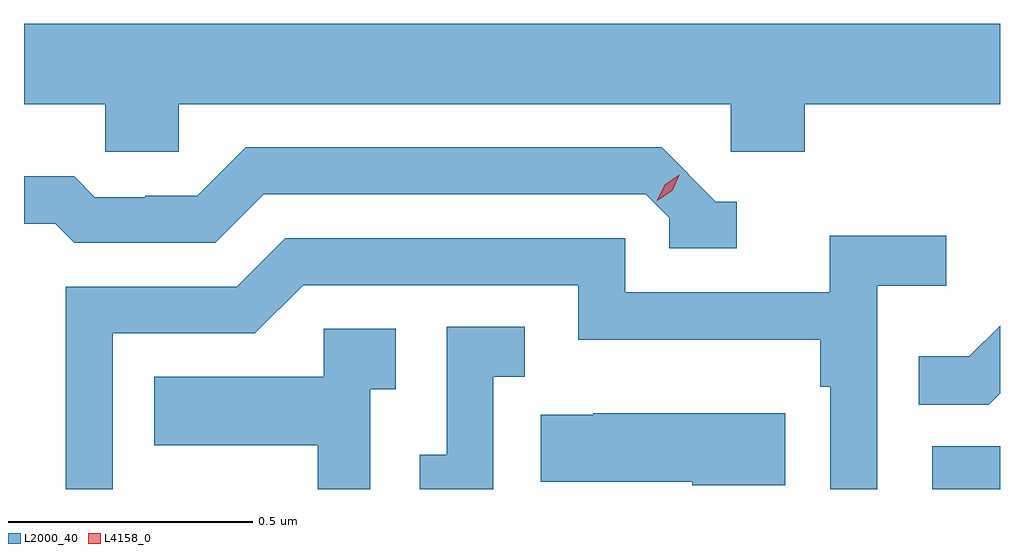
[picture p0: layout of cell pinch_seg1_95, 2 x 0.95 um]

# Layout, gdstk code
import gdstk
lib = gdstk.Library(unit=1e-6, precision=1e-09)
def R(c, l, rs):  # rectangles x0, y0, x1, y1
    for r in rs: c.add(gdstk.rectangle(r[:2], r[2:], *l))
def P(c, l, *ps):  # polygons
    for p in ps: c.add(gdstk.Polygon(p, *l))
L2000_40 = (2000, 40)
L4158_0 = (4158, 0)

pinch_seg1_95 = lib.new_cell('pinch_seg1_95')
R(pinch_seg1_95, L2000_40, [(1050.473,548.279,1050.612,548.367)])
P(pinch_seg1_95, L2000_40, [(1048.929,549.068),(1050.06,549.068),(1050.06,548.97),(1050.212,548.97),(1050.212,549.068),(1050.612,549.068),(1050.612,549.232),(1048.612,549.232),(1048.612,549.068),(1048.779,549.068),(1048.779,548.97),(1048.929,548.97)],
  [(1050.073,548.868),(1050.03,548.868),(1049.919,548.979),(1049.066,548.979),(1048.967,548.88),(1048.86,548.88),(1048.86,548.877),(1048.757,548.877),(1048.715,548.92),(1048.612,548.92),(1048.612,548.823),(1048.676,548.823),(1048.715,548.784),(1049.004,548.784),(1049.103,548.883),(1049.886,548.883),(1049.934,548.835),(1049.934,548.772),(1050.073,548.772)],
  [(1048.794,548.598),(1049.085,548.598),(1049.184,548.697),(1049.748,548.697),(1049.748,548.585),(1050.244,548.585),(1050.244,548.489),(1050.264,548.489),(1050.264,548.279),(1050.36,548.279),(1050.36,548.696),(1050.502,548.696),(1050.502,548.798),(1050.263,548.798),(1050.263,548.682),(1049.844,548.682),(1049.844,548.793),(1049.147,548.793),(1049.048,548.694),(1048.698,548.694),(1048.698,548.279),(1048.794,548.279)],
  [(1050.612,548.475),(1050.612,548.614),(1050.549,548.551),(1050.445,548.551),(1050.445,548.452),(1050.589,548.452)],
  [(1049.574,548.509),(1049.638,548.509),(1049.638,548.612),(1049.478,548.612),(1049.478,548.349),(1049.423,548.349),(1049.423,548.279),(1049.574,548.279)],
  [(1049.322,548.483),(1049.374,548.483),(1049.374,548.607),(1049.226,548.607),(1049.226,548.509),(1048.879,548.509),(1048.879,548.369),(1049.214,548.369),(1049.214,548.279),(1049.322,548.279)],
  [(1050.172,548.434),(1049.779,548.434),(1049.779,548.431),(1049.671,548.431),(1049.671,548.294),(1049.981,548.294),(1049.981,548.287),(1050.172,548.287)])
P(pinch_seg1_95, L4158_0, [(1049.909,548.87),(1049.909,548.87),(1049.925,548.903),(1049.955,548.923),(1049.955,548.923),(1049.955,548.922),(1049.94,548.89),(1049.91,548.87)])

lib.write_gds('pinch_seg1_95.gds')
